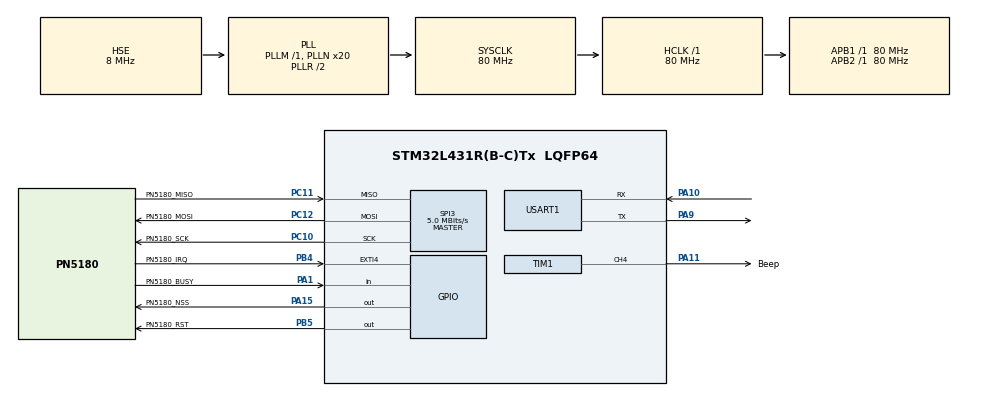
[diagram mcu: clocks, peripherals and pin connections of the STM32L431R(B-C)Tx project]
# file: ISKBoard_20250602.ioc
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Mcu.Family=STM32L4
Mcu.Name=STM32L431R(B-C)Tx
Mcu.Package=LQFP64
NVIC.EXTI4_IRQn=true\:5\:0\:true\:false\:true\:true\:true\:true
NVIC.PriorityGroup=NVIC_PRIORITYGROUP_4
NVIC.TIM2_IRQn=true\:5\:0\:true\:false\:true\:true\:true\:true
NVIC.USART1_IRQn=true\:0\:0\:false\:false\:true\:true\:true\:true
PA1.GPIO_Label=PN5180_BUSY
PA1.GPIO_PuPd=GPIO_PULLUP
PA1.Signal=GPIO_Input
PA10.Mode=Asynchronous
PA10.Signal=USART1_RX
PA11.GPIO_Label=Beep
PA11.GPIO_PuPd=GPIO_PULLDOWN
PA11.Signal=S_TIM1_CH4
PA13\ (JTMS-SWDIO).Mode=Serial_Wire
PA13\ (JTMS-SWDIO).Signal=SYS_JTMS-SWDIO
PA14\ (JTCK-SWCLK).Mode=Serial_Wire
PA14\ (JTCK-SWCLK).Signal=SYS_JTCK-SWCLK
PA15\ (JTDI).GPIO_Label=PN5180_NSS
PA15\ (JTDI).GPIO_Speed=GPIO_SPEED_FREQ_HIGH
PA15\ (JTDI).PinState=GPIO_PIN_SET
PA15\ (JTDI).Signal=GPIO_Output
PA9.Mode=Asynchronous
PA9.Signal=USART1_TX
PB4\ (NJTRST).GPIO_Label=PN5180_IRQ
PB4\ (NJTRST).GPIO_ModeDefaultEXTI=GPIO_MODE_IT_FALLING
PB4\ (NJTRST).GPIO_PuPd=GPIO_PULLUP
PB4\ (NJTRST).Signal=GPXTI4
PB5.GPIO_Label=PN5180_RST
PB5.GPIO_PuPd=GPIO_NOPULL
PB5.PinState=GPIO_PIN_SET
PB5.Signal=GPIO_Output
PC10.GPIO_Label=PN5180_SCK
PC10.Mode=Full_Duplex_Master
PC10.Signal=SPI3_SCK
PC11.GPIO_Label=PN5180_MISO
PC11.Mode=Full_Duplex_Master
PC11.Signal=SPI3_MISO
PC12.GPIO_Label=PN5180_MOSI
PC12.Mode=Full_Duplex_Master
PC12.Signal=SPI3_MOSI
PH0-OSC_IN\ (PH0).Mode=HSE-External-Oscillator
PH0-OSC_IN\ (PH0).Signal=RCC_OSC_IN
PH1-OSC_OUT\ (PH1).Mode=HSE-External-Oscillator
PH1-OSC_OUT\ (PH1).Signal=RCC_OSC_OUT
ProjectManager.HeapSize=0x200
ProjectManager.StackSize=0x400
ProjectManager.TargetToolchain=STM32CubeIDE
RCC.ADCFreq_Value=12000000
RCC.AHBFreq_Value=80000000
RCC.APB1Freq_Value=80000000
RCC.APB1TimFreq_Value=80000000
RCC.APB2Freq_Value=80000000
RCC.APB2TimFreq_Value=80000000
RCC.CortexFreq_Value=80000000
RCC.HCLKFreq_Value=80000000
RCC.HSE_VALUE=8000000
RCC.HSI48_VALUE=48000000
RCC.HSI_VALUE=16000000
RCC.LSE_VALUE=32768
RCC.MSI_VALUE=4000000
RCC.PLLN=20
RCC.PLLSAI1N=9
RCC.PLLSAI1R=RCC_PLLR_DIV6
RCC.PLLSourceVirtual=RCC_PLLSOURCE_HSE
RCC.SYSCLKFreq_VALUE=80000000
RCC.SYSCLKSource=RCC_SYSCLKSOURCE_PLLCLK
RCC.VCOOutputFreq_Value=160000000
SH.S_TIM1_CH4.0=TIM1_CH4,PWM Generation4 CH4
SPI3.BaudRatePrescaler=SPI_BAUDRATEPRESCALER_16
SPI3.CalculateBaudRate=5.0 MBits/s
SPI3.DataSize=SPI_DATASIZE_8BIT
SPI3.Direction=SPI_DIRECTION_2LINES
SPI3.Mode=SPI_MODE_MASTER
SPI3.NSSPMode=SPI_NSS_PULSE_DISABLE
SPI3.VirtualType=VM_MASTER
TIM1.Channel-PWM\ Generation4\ CH4=TIM_CHANNEL_4
TIM1.Period=370-1
TIM1.Prescaler=80-1
TIM1.Pulse-PWM\ Generation4\ CH4=185
TIM2.AutoReloadPreload=TIM_AUTORELOAD_PRELOAD_ENABLE
TIM2.Period=4294967295
TIM2.Prescaler=79
TIM6.Period=1
TIM6.Prescaler=79
USART1.VirtualMode-Asynchronous=VM_ASYNC
VP_TIM2_VS_ClockSourceINT.Mode=Internal
VP_TIM6_VS_ClockSourceINT.Mode=Enable_Timer
board=custom

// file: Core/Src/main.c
/* USER CODE BEGIN Header */
/**
  ******************************************************************************
  * @file           : main.c
  * @brief          : Main program body(集成NFC功能版本)
  ******************************************************************************
  * @attention
  *
  * Copyright (c) 2025 STMicroelectronics.
  * All rights reserved.
  *
  * This software is licensed under terms that can be found in the LICENSE file
  * in the root directory of this software component.
  * If no LICENSE file comes with this software, it is provided AS-IS.
  *
  ******************************************************************************
  */
/* USER CODE END Header */
#include "main.h"
#include "spi.h"
#include "tim.h"
#include "usart.h"
#include "gpio.h"

/* USER CODE BEGIN Includes */
#include <string.h>
#include "stm32l4xx_hal.h"
#include "NfcrdlibEx1_DiscoveryLoop.h"
#include "NfcrdlibEx1_EmvcoProfile.h"
#include "phhalHw.h"
#include "phhalHw_Pn5180_Reg.h"
#include "ph_RefDefs.h"
#include "stm32l4xx_hal_tim.h"
#include "stm32l4xx_hal_spi.h"
#include "phApp_Init.h"			// include pHal 声明
#include "Board_Stm32l431_Pn5180.h"
#include "NfcrdlibEx1_DiscoveryLoop.h"  // 包含demo头文件
/* USER CODE END Includes */

/* USER CODE BEGIN PV */
extern SPI_HandleTypeDef hspi3;
extern TIM_HandleTypeDef htim6;  // 定时器句柄

extern phhalHw_Pn5180_DataParams_t *pHal;
volatile uint8_t g_irq_flag = 0;  // 临时调试用
/* USER CODE END PV */

void SystemClock_Config(void);
/* USER CODE BEGIN PFP */
static void proc_uart1_recv(void);	/* 处理 UART1 串口接收的数据，并尝试解析 JSON 数据 */
/* USER CODE END PFP */

int main(void)
{

  /* MCU Configuration--------------------------------------------------------*/

  /* Reset of all peripherals, Initializes the Flash interface and the Systick. */
  HAL_Init();

  /* Configure the system clock */
  SystemClock_Config();

  /* Initialize all configured peripherals */
  MX_GPIO_Init();
  MX_USART1_UART_Init();
  MX_TIM6_Init();
  MX_TIM1_Init();
  MX_SPI3_Init();
  MX_TIM2_Init();
  /* USER CODE BEGIN 2 */

  printf("Start Iskboard NFC Program v1.0\r\n");

  beep_start(1, 300); 	/* 蜂鸣器响1声 */

  /* 调用NFC Discovery功能*/
  nfc_discovery_main();

  /* USER CODE END 2 */

  /* Infinite loop */
  while (1)
  {

  }
}

void SystemClock_Config(void)
{
  RCC_OscInitTypeDef RCC_OscInitStruct = {0};
  RCC_ClkInitTypeDef RCC_ClkInitStruct = {0};

  /** Configure the main internal regulator output voltage
  */
  if (HAL_PWREx_ControlVoltageScaling(PWR_REGULATOR_VOLTAGE_SCALE1) != HAL_OK)
  {
    Error_Handler();
  }

  /** Initializes the RCC Oscillators according to the specified parameters
  * in the RCC_OscInitTypeDef structure.
  */
  RCC_OscInitStruct.OscillatorType = RCC_OSCILLATORTYPE_HSE;
  RCC_OscInitStruct.HSEState = RCC_HSE_ON;
  RCC_OscInitStruct.PLL.PLLState = RCC_PLL_ON;
  RCC_OscInitStruct.PLL.PLLSource = RCC_PLLSOURCE_HSE;
  RCC_OscInitStruct.PLL.PLLM = 1;
  RCC_OscInitStruct.PLL.PLLN = 20;
  RCC_OscInitStruct.PLL.PLLP = RCC_PLLP_DIV7;
  RCC_OscInitStruct.PLL.PLLQ = RCC_PLLQ_DIV2;
  RCC_OscInitStruct.PLL.PLLR = RCC_PLLR_DIV2;
  if (HAL_RCC_OscConfig(&RCC_OscInitStruct) != HAL_OK)
  {
    Error_Handler();
  }

  /** Initializes the CPU, AHB and APB buses clocks
  */
  RCC_ClkInitStruct.ClockType = RCC_CLOCKTYPE_HCLK|RCC_CLOCKTYPE_SYSCLK
                              |RCC_CLOCKTYPE_PCLK1|RCC_CLOCKTYPE_PCLK2;
  RCC_ClkInitStruct.SYSCLKSource = RCC_SYSCLKSOURCE_PLLCLK;
  RCC_ClkInitStruct.AHBCLKDivider = RCC_SYSCLK_DIV1;
  RCC_ClkInitStruct.APB1CLKDivider = RCC_HCLK_DIV1;
  RCC_ClkInitStruct.APB2CLKDivider = RCC_HCLK_DIV1;

  if (HAL_RCC_ClockConfig(&RCC_ClkInitStruct, FLASH_LATENCY_4) != HAL_OK)
  {
    Error_Handler();
  }
}

/* USER CODE BEGIN 4 */
#if 0
/* 处理 UART1 串口接收的数据，并尝试解析 JSON 数据 */
void proc_uart1_recv(void)
{
	if( g_uart1_bytes > 0 ) /* 如果buf中有数据 */
	{
		printf("Received bytes: %d, Data: %s\r\n", g_uart1_bytes, g_uart1_rxbuf);

		HAL_Delay(12000); 		 /* 确保整个json都接收完了 */

		clear_uart1_rxbuf(); /* 清零buf */
	}
}
#endif
/* USER CODE END 4 */

void Error_Handler(void)
{
  __disable_irq();
  while (1)
  {
  }
}
